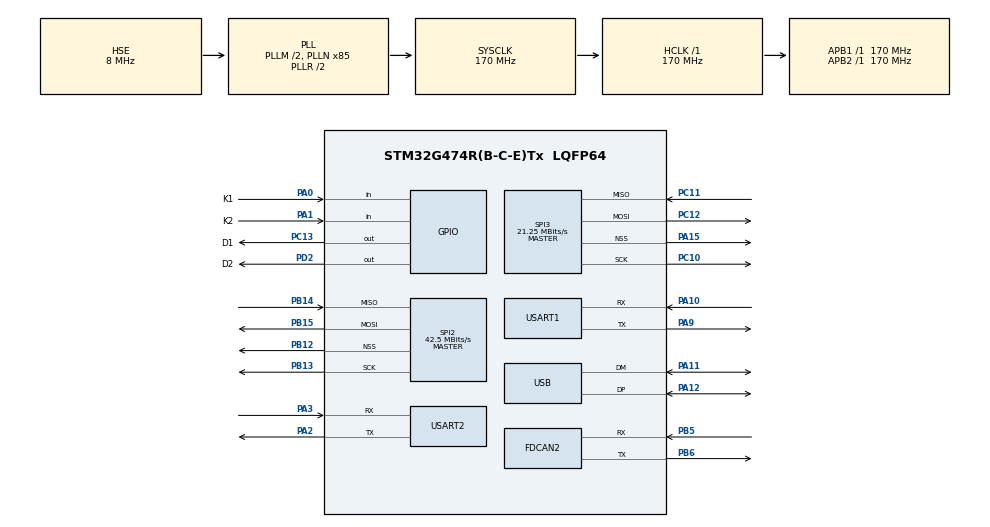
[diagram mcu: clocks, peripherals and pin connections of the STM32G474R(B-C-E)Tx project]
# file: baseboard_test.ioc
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Dma.Request0=USART2_TX
Dma.Request1=USART2_RX
Dma.Request2=USART1_RX
Dma.Request3=USART1_TX
Dma.USART1_RX.2.Direction=DMA_PERIPH_TO_MEMORY
Dma.USART1_RX.2.EventEnable=DISABLE
Dma.USART1_RX.2.Instance=DMA1_Channel3
Dma.USART1_RX.2.MemDataAlignment=DMA_MDATAALIGN_BYTE
Dma.USART1_RX.2.MemInc=DMA_MINC_ENABLE
Dma.USART1_RX.2.Mode=DMA_NORMAL
Dma.USART1_RX.2.PeriphDataAlignment=DMA_PDATAALIGN_BYTE
Dma.USART1_RX.2.PeriphInc=DMA_PINC_DISABLE
Dma.USART1_RX.2.Polarity=HAL_DMAMUX_REQ_GEN_RISING
Dma.USART1_RX.2.Priority=DMA_PRIORITY_LOW
Dma.USART1_RX.2.RequestNumber=1
Dma.USART1_RX.2.SignalID=NONE
Dma.USART1_RX.2.SyncEnable=DISABLE
Dma.USART1_RX.2.SyncPolarity=HAL_DMAMUX_SYNC_NO_EVENT
Dma.USART1_RX.2.SyncRequestNumber=1
Dma.USART1_RX.2.SyncSignalID=NONE
Dma.USART1_TX.3.Direction=DMA_MEMORY_TO_PERIPH
Dma.USART1_TX.3.EventEnable=DISABLE
Dma.USART1_TX.3.Instance=DMA1_Channel4
Dma.USART1_TX.3.MemDataAlignment=DMA_MDATAALIGN_BYTE
Dma.USART1_TX.3.MemInc=DMA_MINC_ENABLE
Dma.USART1_TX.3.Mode=DMA_NORMAL
Dma.USART1_TX.3.PeriphDataAlignment=DMA_PDATAALIGN_BYTE
Dma.USART1_TX.3.PeriphInc=DMA_PINC_DISABLE
Dma.USART1_TX.3.Polarity=HAL_DMAMUX_REQ_GEN_RISING
Dma.USART1_TX.3.Priority=DMA_PRIORITY_LOW
Dma.USART1_TX.3.RequestNumber=1
Dma.USART1_TX.3.SignalID=NONE
Dma.USART1_TX.3.SyncEnable=DISABLE
Dma.USART1_TX.3.SyncPolarity=HAL_DMAMUX_SYNC_NO_EVENT
Dma.USART1_TX.3.SyncRequestNumber=1
Dma.USART1_TX.3.SyncSignalID=NONE
Dma.USART2_RX.1.Direction=DMA_PERIPH_TO_MEMORY
Dma.USART2_RX.1.EventEnable=DISABLE
Dma.USART2_RX.1.Instance=DMA1_Channel2
Dma.USART2_RX.1.MemDataAlignment=DMA_MDATAALIGN_BYTE
Dma.USART2_RX.1.MemInc=DMA_MINC_ENABLE
Dma.USART2_RX.1.Mode=DMA_NORMAL
Dma.USART2_RX.1.PeriphDataAlignment=DMA_PDATAALIGN_BYTE
Dma.USART2_RX.1.PeriphInc=DMA_PINC_DISABLE
Dma.USART2_RX.1.Polarity=HAL_DMAMUX_REQ_GEN_RISING
Dma.USART2_RX.1.Priority=DMA_PRIORITY_LOW
Dma.USART2_RX.1.RequestNumber=1
Dma.USART2_RX.1.SignalID=NONE
Dma.USART2_RX.1.SyncEnable=DISABLE
Dma.USART2_RX.1.SyncPolarity=HAL_DMAMUX_SYNC_NO_EVENT
Dma.USART2_RX.1.SyncRequestNumber=1
Dma.USART2_RX.1.SyncSignalID=NONE
Dma.USART2_TX.0.Direction=DMA_MEMORY_TO_PERIPH
Dma.USART2_TX.0.EventEnable=DISABLE
Dma.USART2_TX.0.Instance=DMA1_Channel1
Dma.USART2_TX.0.MemDataAlignment=DMA_MDATAALIGN_BYTE
Dma.USART2_TX.0.MemInc=DMA_MINC_ENABLE
Dma.USART2_TX.0.Mode=DMA_NORMAL
Dma.USART2_TX.0.PeriphDataAlignment=DMA_PDATAALIGN_BYTE
Dma.USART2_TX.0.PeriphInc=DMA_PINC_DISABLE
Dma.USART2_TX.0.Polarity=HAL_DMAMUX_REQ_GEN_RISING
Dma.USART2_TX.0.Priority=DMA_PRIORITY_LOW
Dma.USART2_TX.0.RequestNumber=1
Dma.USART2_TX.0.SignalID=NONE
Dma.USART2_TX.0.SyncEnable=DISABLE
Dma.USART2_TX.0.SyncPolarity=HAL_DMAMUX_SYNC_NO_EVENT
Dma.USART2_TX.0.SyncRequestNumber=1
Dma.USART2_TX.0.SyncSignalID=NONE
FDCAN2.CalculateBaudRateNominal=500000
FDCAN2.CalculateTimeBitNominal=2000
FDCAN2.CalculateTimeQuantumNominal=100.0
FDCAN2.DataPrescaler=17
FDCAN2.DataSyncJumpWidth=4
FDCAN2.DataTimeSeg1=19
FDCAN2.DataTimeSeg2=4
FDCAN2.NominalPrescaler=17
FDCAN2.NominalSyncJumpWidth=4
FDCAN2.NominalTimeSeg1=15
FDCAN2.NominalTimeSeg2=4
FREERTOS.Tasks01=defaultTask,24,128,StartDefaultTask,Default,NULL,Dynamic,NULL,NULL
FREERTOS.configUSE_NEWLIB_REENTRANT=1
Mcu.Family=STM32G4
Mcu.Name=STM32G474R(B-C-E)Tx
Mcu.Package=LQFP64
NVIC.DMA1_Channel1_IRQn=true\:5\:0\:false\:false\:true\:true\:false\:true\:true
NVIC.DMA1_Channel2_IRQn=true\:5\:0\:false\:false\:true\:true\:false\:true\:true
NVIC.DMA1_Channel3_IRQn=true\:5\:0\:false\:false\:true\:true\:false\:true\:true
NVIC.DMA1_Channel4_IRQn=true\:5\:0\:false\:false\:true\:true\:false\:true\:true
NVIC.FDCAN2_IT0_IRQn=true\:5\:0\:false\:false\:true\:true\:true\:true\:true
NVIC.FDCAN2_IT1_IRQn=true\:5\:0\:false\:false\:true\:true\:true\:true\:true
NVIC.PriorityGroup=NVIC_PRIORITYGROUP_4
NVIC.TIM6_DAC_IRQn=true\:15\:0\:false\:false\:true\:false\:false\:true\:true
NVIC.TimeBase=TIM6_DAC_IRQn
NVIC.TimeBaseIP=TIM6
NVIC.USART1_IRQn=true\:5\:0\:false\:false\:true\:true\:true\:true\:true
NVIC.USART2_IRQn=true\:5\:0\:false\:false\:true\:true\:true\:true\:true
NVIC.USB_LP_IRQn=true\:5\:0\:false\:false\:true\:true\:false\:true\:true
PA0.GPIO_Label=K1
PA0.GPIO_PuPd=GPIO_NOPULL
PA0.Signal=GPIO_Input
PA1.GPIO_Label=K2
PA1.GPIO_PuPd=GPIO_NOPULL
PA1.Signal=GPIO_Input
PA10.Mode=Asynchronous
PA10.Signal=USART1_RX
PA11.Mode=Device
PA11.Signal=USB_DM
PA12.Mode=Device
PA12.Signal=USB_DP
PA13.Mode=Serial_Wire
PA13.Signal=SYS_JTMS-SWDIO
PA14.Mode=Serial_Wire
PA14.Signal=SYS_JTCK-SWCLK
PA15.Mode=NSS_Signal_Hard_Output
PA15.Signal=SPI3_NSS
PA2.Mode=Asynchronous
PA2.Signal=USART2_TX
PA3.Mode=Asynchronous
PA3.Signal=USART2_RX
PA9.Mode=Asynchronous
PA9.Signal=USART1_TX
PB12.Mode=NSS_Signal_Hard_Output
PB12.Signal=SPI2_NSS
PB13.Mode=Full_Duplex_Master
PB13.Signal=SPI2_SCK
PB14.Mode=Full_Duplex_Master
PB14.Signal=SPI2_MISO
PB15.Mode=Full_Duplex_Master
PB15.Signal=SPI2_MOSI
PB5.Mode=FDCAN_Activate
PB5.Signal=FDCAN2_RX
PB6.Mode=FDCAN_Activate
PB6.Signal=FDCAN2_TX
PC10.Mode=Full_Duplex_Master
PC10.Signal=SPI3_SCK
PC11.Mode=Full_Duplex_Master
PC11.Signal=SPI3_MISO
PC12.Mode=Full_Duplex_Master
PC12.Signal=SPI3_MOSI
PC13.GPIO_Label=D1
PC13.GPIO_PuPd=GPIO_PULLUP
PC13.PinState=GPIO_PIN_SET
PC13.Signal=GPIO_Output
PC14-OSC32_IN.Mode=LSE-External-Oscillator
PC14-OSC32_IN.Signal=RCC_OSC32_IN
PC15-OSC32_OUT.Mode=LSE-External-Oscillator
PC15-OSC32_OUT.Signal=RCC_OSC32_OUT
PD2.GPIO_Label=D2
PD2.GPIO_PuPd=GPIO_PULLUP
PD2.PinState=GPIO_PIN_SET
PD2.Signal=GPIO_Output
PF0-OSC_IN.Mode=HSE-External-Oscillator
PF0-OSC_IN.Signal=RCC_OSC_IN
PF1-OSC_OUT.Mode=HSE-External-Oscillator
PF1-OSC_OUT.Signal=RCC_OSC_OUT
ProjectManager.HeapSize=0x200
ProjectManager.StackSize=0x400
ProjectManager.TargetToolchain=STM32CubeIDE
RCC.ADC12Freq_Value=170000000
RCC.ADC345Freq_Value=170000000
RCC.AHBFreq_Value=170000000
RCC.APB1Freq_Value=170000000
RCC.APB1TimFreq_Value=170000000
RCC.APB2Freq_Value=170000000
RCC.APB2TimFreq_Value=170000000
RCC.CK48CLockSelection=RCC_USBCLKSOURCE_HSI48
RCC.CortexFreq_Value=170000000
RCC.EXTERNAL_CLOCK_VALUE=12288000
RCC.HCLKFreq_Value=170000000
RCC.HSE_VALUE=8000000
RCC.HSI48_VALUE=48000000
RCC.HSI_VALUE=16000000
RCC.PLLM=RCC_PLLM_DIV2
RCC.PLLN=85
RCC.PLLSourceVirtual=RCC_PLLSOURCE_HSE
RCC.SYSCLKFreq_VALUE=170000000
RCC.SYSCLKSource=RCC_SYSCLKSOURCE_PLLCLK
RCC.USBFreq_Value=48000000
RCC.VCOOutputFreq_Value=340000000
SPI2.BaudRatePrescaler=SPI_BAUDRATEPRESCALER_4
SPI2.CalculateBaudRate=42.5 MBits/s
SPI2.Direction=SPI_DIRECTION_2LINES
SPI2.Mode=SPI_MODE_MASTER
SPI2.VirtualNSS=VM_NSSHARD
SPI2.VirtualType=VM_MASTER
SPI3.BaudRatePrescaler=SPI_BAUDRATEPRESCALER_8
SPI3.CalculateBaudRate=21.25 MBits/s
SPI3.Direction=SPI_DIRECTION_2LINES
SPI3.Mode=SPI_MODE_MASTER
SPI3.VirtualNSS=VM_NSSHARD
SPI3.VirtualType=VM_MASTER
USART1.VirtualMode-Asynchronous=VM_ASYNC
USART2.VirtualMode-Asynchronous=VM_ASYNC
USB_DEVICE.CLASS_NAME_FS=CDC
USB_DEVICE.VirtualMode=Cdc
USB_DEVICE.VirtualModeFS=Cdc_FS
VP_FREERTOS_VS_CMSIS_V2.Mode=CMSIS_V2
VP_SYS_VS_DBSignals.Mode=DisableDeadBatterySignals
VP_SYS_VS_tim6.Mode=TIM6
VP_USB_DEVICE_VS_USB_DEVICE_CDC_FS.Mode=CDC_FS
board=custom

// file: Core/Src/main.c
/* USER CODE BEGIN Header */
/**
  ******************************************************************************
  * @file           : main.c
  * @brief          : Main program body
  ******************************************************************************
  * @attention
  *
  * Copyright (c) 2026 STMicroelectronics.
  * All rights reserved.
  *
  * This software is licensed under terms that can be found in the LICENSE file
  * in the root directory of this software component.
  * If no LICENSE file comes with this software, it is provided AS-IS.
  *
  ******************************************************************************
  */
/* USER CODE END Header */
#include "main.h"
#include "cmsis_os.h"
#include "dma.h"
#include "fdcan.h"
#include "spi.h"
#include "usart.h"
#include "usb_device.h"
#include "gpio.h"

/* USER CODE BEGIN Includes */
#include "DYPA22.h"
/* USER CODE END Includes */

void SystemClock_Config(void);
void MX_FREERTOS_Init(void);

int main(void)
{

  /* MCU Configuration--------------------------------------------------------*/

  /* Reset of all peripherals, Initializes the Flash interface and the Systick. */
  HAL_Init();

  /* Configure the system clock */
  SystemClock_Config();

  /* Initialize all configured peripherals */
  MX_GPIO_Init();
  MX_DMA_Init();
  MX_FDCAN2_Init();
  MX_USART1_UART_Init();
  MX_USART2_UART_Init();
  MX_SPI2_Init();
  MX_SPI3_Init();
  /* USER CODE BEGIN 2 */
  HAL_UART_Receive_DMA(&huart2, ULTRASONIC_rx_buf, RS485_BUFF_SIZE);
  /* USER CODE END 2 */

  /* Init scheduler */
  osKernelInitialize();  /* Call init function for freertos objects (in cmsis_os2.c) */
  MX_FREERTOS_Init();

  /* Start scheduler */
  osKernelStart();

  /* We should never get here as control is now taken by the scheduler */

  /* Infinite loop */
  while (1)
  {

  }
}

void SystemClock_Config(void)
{
  RCC_OscInitTypeDef RCC_OscInitStruct = {0};
  RCC_ClkInitTypeDef RCC_ClkInitStruct = {0};

  /** Configure the main internal regulator output voltage
  */
  HAL_PWREx_ControlVoltageScaling(PWR_REGULATOR_VOLTAGE_SCALE1_BOOST);

  /** Initializes the RCC Oscillators according to the specified parameters
  * in the RCC_OscInitTypeDef structure.
  */
  RCC_OscInitStruct.OscillatorType = RCC_OSCILLATORTYPE_HSI48|RCC_OSCILLATORTYPE_HSE;
  RCC_OscInitStruct.HSEState = RCC_HSE_ON;
  RCC_OscInitStruct.HSI48State = RCC_HSI48_ON;
  RCC_OscInitStruct.PLL.PLLState = RCC_PLL_ON;
  RCC_OscInitStruct.PLL.PLLSource = RCC_PLLSOURCE_HSE;
  RCC_OscInitStruct.PLL.PLLM = RCC_PLLM_DIV2;
  RCC_OscInitStruct.PLL.PLLN = 85;
  RCC_OscInitStruct.PLL.PLLP = RCC_PLLP_DIV2;
  RCC_OscInitStruct.PLL.PLLQ = RCC_PLLQ_DIV2;
  RCC_OscInitStruct.PLL.PLLR = RCC_PLLR_DIV2;
  if (HAL_RCC_OscConfig(&RCC_OscInitStruct) != HAL_OK)
  {
    Error_Handler();
  }

  /** Initializes the CPU, AHB and APB buses clocks
  */
  RCC_ClkInitStruct.ClockType = RCC_CLOCKTYPE_HCLK|RCC_CLOCKTYPE_SYSCLK
                              |RCC_CLOCKTYPE_PCLK1|RCC_CLOCKTYPE_PCLK2;
  RCC_ClkInitStruct.SYSCLKSource = RCC_SYSCLKSOURCE_PLLCLK;
  RCC_ClkInitStruct.AHBCLKDivider = RCC_SYSCLK_DIV1;
  RCC_ClkInitStruct.APB1CLKDivider = RCC_HCLK_DIV1;
  RCC_ClkInitStruct.APB2CLKDivider = RCC_HCLK_DIV1;

  if (HAL_RCC_ClockConfig(&RCC_ClkInitStruct, FLASH_LATENCY_4) != HAL_OK)
  {
    Error_Handler();
  }
}

void HAL_TIM_PeriodElapsedCallback(TIM_HandleTypeDef *htim)
{
  if (htim->Instance == TIM6)
  {
    HAL_IncTick();
  }
}

void Error_Handler(void)
{
  __disable_irq();
  while (1)
  {
  }
}

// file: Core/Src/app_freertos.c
/* USER CODE BEGIN Header */
/**
  ******************************************************************************
  * File Name          : app_freertos.c
  * Description        : Code for freertos applications
  ******************************************************************************
  * @attention
  *
  * Copyright (c) 2026 STMicroelectronics.
  * All rights reserved.
  *
  * This software is licensed under terms that can be found in the LICENSE file
  * in the root directory of this software component.
  * If no LICENSE file comes with this software, it is provided AS-IS.
  *
  ******************************************************************************
  */
/* USER CODE END Header */

#include "FreeRTOS.h"
#include "task.h"
#include "main.h"
#include "cmsis_os.h"

#include "usb_device.h"

/* USER CODE BEGIN Includes */
#include "DYPA22.h"
#include "usb_cdc_result.h"
#include "zlac8015d.h"
#include "cdc_can_command.h"
/* USER CODE END Includes */

/* USER CODE BEGIN PD */
#define DYP_STARTUP_CONFIG_ENABLE (0U)
#define DYP_DEFAULT_ALGORITHM_ENABLE (1U)
#define DYP_DEFAULT_ANGLE_LEVEL (4U)
#define DYP_DEFAULT_RANGE_LEVEL (4U)

/* USER CODE END PD */

/* USER CODE BEGIN Variables */
/* Static allocation preserves the small (3072 byte) FreeRTOS heap. */
static StaticTask_t motorTaskControl;
static StackType_t motorTaskStack[256];

/* USER CODE END Variables */
/* Definitions for defaultTask */
osThreadId_t defaultTaskHandle;
const osThreadAttr_t defaultTask_attributes = {
  .name = "defaultTask",
  .priority = (osPriority_t) osPriorityNormal,
  .stack_size = 128 * 4
};

/* USER CODE BEGIN FunctionPrototypes */
static void StartMotorTask(void *argument);

/* USER CODE END FunctionPrototypes */

void StartDefaultTask(void *argument);

void MX_FREERTOS_Init(void); /* (MISRA C 2004 rule 8.1) */

void MX_FREERTOS_Init(void) {

  /* Create the thread(s) */
  /* creation of defaultTask */
  defaultTaskHandle = osThreadNew(StartDefaultTask, NULL, &defaultTask_attributes);

  /* USER CODE BEGIN RTOS_THREADS */
  if (xTaskCreateStatic(StartMotorTask, "motorCAN", 256U, NULL,
                        (UBaseType_t)osPriorityAboveNormal, motorTaskStack,
                        &motorTaskControl) == NULL) {
    Error_Handler();
  }
  /* add threads, ... */
  /* USER CODE END RTOS_THREADS */

}

void StartDefaultTask(void *argument)
{
  /* init code for USB_Device */
  MX_USB_Device_Init();
  /* USER CODE BEGIN StartDefaultTask */
#if DYP_STARTUP_CONFIG_ENABLE
  /* Optional one-time sensor setup; enable only when sensor configuration is required. */
  for (uint8_t sensor = 0U; sensor < SENSOR_COUNT; ++sensor)
  {
    uint8_t sensor_id = (uint8_t)(sensor + 1U);
    (void)Ultrasonic_SetAlgorithm(sensor_id, DYP_DEFAULT_ALGORITHM_ENABLE);
    (void)Ultrasonic_ConfigSensorLevels(sensor_id,
                                        DYP_DEFAULT_ANGLE_LEVEL,
                                        DYP_DEFAULT_RANGE_LEVEL);
  }
#endif
  /* Infinite loop */
  for(;;)
  {
    (void)UsbCdc_SendCanReply();
    /* Keep protocol parsing and sensor polling outside interrupt context. */
    if (Ultrasonic_ServiceTick() != 0U)
    {
      (void)UsbCdc_SendUltrasonicResults(g_sensors, SENSOR_COUNT);
    }
    /* Keep the existing 1-second DYP round delay while draining command replies.
     * DYP's own blocking reads may still delay a reply by one polling round. */
    for (uint32_t wait = 0U; wait < 50U; ++wait) {
      (void)UsbCdc_SendCanReply();
      osDelay(20U);
    }
  }
  /* USER CODE END StartDefaultTask */
}

/* USER CODE BEGIN Application */
/* The motor task is the only CANopen sender. USB IRQ only queues command text;
 * no periodic probe competes with externally requested SDO transactions. */
static void StartMotorTask(void *argument)
{
  (void)argument;
  /* Keep command service alive after init failure so the host gets an error. */
  (void)Zlac_Init();
  for (;;) {
    Zlac_Service();
    CdcCan_Service();
    vTaskDelay(pdMS_TO_TICKS(5U));
  }
}

/* USER CODE END Application */
